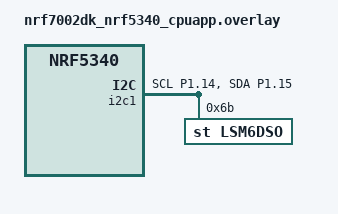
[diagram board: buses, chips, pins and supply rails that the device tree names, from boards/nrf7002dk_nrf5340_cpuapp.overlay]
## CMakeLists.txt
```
cmake_minimum_required(VERSION 3.20.0)
find_package(Zephyr REQUIRED HINTS $ENV{ZEPHYR_BASE})

project(Motion_sensor)

target_sources(app PRIVATE
    src/madgwick.c
    src/imu.c
    src/madgwick_motion.c
)

target_include_directories(app PRIVATE
    ${CMAKE_CURRENT_SOURCE_DIR}/src
)
```

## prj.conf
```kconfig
CONFIG_I2C=y
CONFIG_SENSOR=y
CONFIG_LSM6DSO=y
CONFIG_LOG=y
CONFIG_LOG_DEFAULT_LEVEL=3

# Enable float printing
CONFIG_NEWLIB_LIBC=y
CONFIG_CBPRINTF_FP_SUPPORT=y


CONFIG_FPU=y
CONFIG_MAIN_STACK_SIZE=4096
CONFIG_NEWLIB_LIBC=y
```

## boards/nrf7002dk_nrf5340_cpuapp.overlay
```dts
&i2c1 {
    status = "okay";
    pinctrl-0 = <&i2c1_default>;
    pinctrl-1 = <&i2c1_sleep>;
    pinctrl-names = "default", "sleep";

    lsm6dso@6b {
        compatible = "st,lsm6dso";
        reg = <0x6b>;
        label = "LSM6DSO";
        status = "okay";

        /* 加速度计：±2g，104 Hz */
        accel-range = <0>;
        accel-odr   = <4>;

        /* 陀螺仪：±125 dps，104 Hz */
        gyro-range = <1>;
        gyro-odr   = <4>;
    };  
};     


&pinctrl {
    /omit-if-no-ref/ i2c1_default: i2c1_default {
        group1  {
            psels = <NRF_PSEL(TWIM_SCL, 1, 14)>,
                    <NRF_PSEL(TWIM_SDA, 1, 15)>;
        };
    };

    /omit-if-no-ref/ i2c1_sleep: i2c1_sleep {
        group1  {
            psels = <NRF_PSEL(TWIM_SCL, 1, 14)>,
                    <NRF_PSEL(TWIM_SDA, 1, 15)>;
            low-power-enable;
        };
    };
};
```

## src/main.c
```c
/* root/src/main.c - BLE NUS → Servo bridge */

#include <zephyr/kernel.h>
#include <zephyr/logging/log.h>

#include "madgwick.h"
#include "imu.h" 


// LOG_MODULE_REGISTER(root_main, LOG_LEVEL_INF);

// /* Callback for data coming from phone over NUS */
// static void root_rx_cb(const uint8_t *data, size_t len)
// {
//     for (size_t i = 0; i < len; i++) {
//         char cmd = (char)data[i];

//         LOG_INF("RX cmd '%c' (0x%02x)",
//                 (cmd >= 32 && cmd <= 126) ? cmd : '.', (unsigned char)cmd);

//         /* Use servo subroutine API:
//          *  '1' => +90 deg
//          *  '2' => -90 deg
//          *  '0', 'c', 'C' => center (based on your servo_apply_command())
//          */
//         servo_apply_command(cmd);
//     }
// }

// int main(void)
// {
//     LOG_INF("System Start");

//     /* ===========================================
//      *          1. 初始化 IMU（含自动校准）
//      * =========================================== */
//     int err = imu_init();
//     if (err != 0) {
//         LOG_ERR("IMU init failed! err=%d", err);
//         return 0;
//     }

//     LOG_INF("IMU initialized successfully!");
//     LOG_INF("Calibration finished. Entering measurement mode...");

//     /* ===========================================
//      *          2. 主循环：每 500ms 测一次
//      * =========================================== */
//     struct imu_angles angles;
//     const float threshold_deg = 10.0f;

//     while (1) {

//     imu_update(&angles);

//     LOG_INF("ROLL=%.2f  PITCH=%.2f  YAW=%.2f",
//             angles.roll, angles.pitch, angles.yaw);

//     // angles.xxx 已经是“偏移角度”
//     if (fabsf(angles.roll)  > threshold_deg ||
//         fabsf(angles.pitch) > threshold_deg ||
//         fabsf(angles.yaw)   > threshold_deg) {

//         LOG_ERR("⚠ Bad posture detected!");
//     }

//     k_msleep(500);
// }
// }
```

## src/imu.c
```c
// #include "imu.h"
// #include <madgwick.h>
// #include <math.h>
// #include <zephyr/drivers/sensor.h>
// #include <zephyr/kernel.h>
// #include <zephyr/logging/log.h>

// LOG_MODULE_REGISTER(imu_subsys, LOG_LEVEL_INF);

// /* --------- 模块内部状态 --------- */

// static const struct device *imu_dev;
// static bool imu_ready = false;

// /* Gyro bias（rad/s），从 3 秒静止数据中估计 */
// static float gbx = 0.0f, gby = 0.0f, gbz = 0.0f;

// /* 最近一次计算好的绝对姿态角（度） */
// static struct imu_angles last_angles = {0};

// /* 上一次更新时间（ms），用于算 dt */
// static int64_t last_ts_ms = 0;

// /* 线程相关 */
// #define IMU_THREAD_STACK_SIZE  1024
// #define IMU_THREAD_PRIORITY    6

// K_THREAD_STACK_DEFINE(imu_thread_stack, IMU_THREAD_STACK_SIZE);
// static struct k_thread imu_thread_data;

// /* ===========================================================
//  *          IMU 线程：10ms 周期跑 Madgwick（绝对角）
//  * ===========================================================*/
// static void imu_thread_fn(void *p1, void *p2, void *p3)
// {
//     ARG_UNUSED(p1);
//     ARG_UNUSED(p2);
//     ARG_UNUSED(p3);

//     struct sensor_value accel[3];
//     struct sensor_value gyro[3];

//     while (1) {

//         if (!imu_ready) {
//             k_sleep(K_MSEC(10));
//             continue;
//         }

//         int64_t now_ms = k_uptime_get();
//         float dt = (now_ms - last_ts_ms) / 1000.0f;
//         last_ts_ms = now_ms;

//         /* 防止偶尔 dt 太大/太小 */
//         if (dt <= 0.0f || dt > 0.1f) {
//             dt = 0.01f;
//         }

//         if (sensor_sample_fetch(imu_dev) < 0) {
//             LOG_WRN("sensor_sample_fetch failed in imu_thread");
//             k_sleep(K_MSEC(10));
//             continue;
//         }

//         if (sensor_channel_get(imu_dev, SENSOR_CHAN_ACCEL_XYZ, accel) < 0) {
//             LOG_WRN("get accel failed in imu_thread");
//             k_sleep(K_MSEC(10));
//             continue;
//         }

//         if (sensor_channel_get(imu_dev, SENSOR_CHAN_GYRO_XYZ, gyro) < 0) {
//             LOG_WRN("get gyro failed in imu_thread");
//             k_sleep(K_MSEC(10));
//             continue;
//         }

//         float ax = sensor_value_to_double(&accel[0]);
//         float ay = sensor_value_to_double(&accel[1]);
//         float az = sensor_value_to_double(&accel[2]);

//         /* 注意：Zephyr LSM6DSO 的 gyro 输出是 rad/s */
//         float gx = sensor_value_to_double(&gyro[0]) - gbx;
//         float gy = sensor_value_to_double(&gyro[1]) - gby;
//         float gz = sensor_value_to_double(&gyro[2]) - gbz;

//         float roll, pitch, yaw;

//         MadgwickUpdate(gx, gy, gz, ax, ay, az, dt);
//         MadgwickGetEuler(&roll, &pitch, &yaw);   // 这里返回的是角度（度）

//         /* 直接保存“绝对姿态” */
//         last_angles.roll  = roll;
//         last_angles.pitch = pitch;
//         last_angles.yaw   = yaw;

//         /* 10 ms 周期 */
//         k_sleep(K_MSEC(10));
//     }
// }

// /* ===========================================================
//  *                      对外 API
//  * ===========================================================*/

// /*
//  * imu_init()
//  * 1) 找设备
//  * 2) 初始化 Madgwick
//  * 3) 3 秒 gyro 零偏校准（板子静止）
//  * 4) 10 秒 Madgwick 预热（板子保持参考姿势）
//  * 5) 启动 IMU 线程（10ms 周期更新绝对角度）
//  */
// int imu_init(void)
// {
//     imu_dev = DEVICE_DT_GET_ANY(st_lsm6dso);
//     if (!imu_dev || !device_is_ready(imu_dev)) {
//         LOG_ERR("IMU (LSM6DSO) not ready");
//         imu_ready = false;
//         return -ENODEV;
//     }

//     /* 1) 初始化 Madgwick 滤波器 */
//     MadgwickInit(0.1f);   // 保持你之前的参数

//     /* 2) 3 秒陀螺仪零偏标定（板子静止） */
//     LOG_INF("Calibrating gyro bias, keep IMU still (about 3s)...");

//     struct sensor_value gyro[3];
//     const int calib_samples = 300;    // 300 * 10ms ≈ 3s
//     gbx = gby = gbz = 0.0f;

//     for (int i = 0; i < calib_samples; i++) {
//         if (sensor_sample_fetch(imu_dev) < 0) {
//             k_sleep(K_MSEC(10));
//             continue;
//         }
//         if (sensor_channel_get(imu_dev, SENSOR_CHAN_GYRO_XYZ, gyro) < 0) {
//             k_sleep(K_MSEC(10));
//             continue;
//         }

//         gbx += sensor_value_to_double(&gyro[0]);
//         gby += sensor_value_to_double(&gyro[1]);
//         gbz += sensor_value_to_double(&gyro[2]);

//         k_sleep(K_MSEC(10));
//     }

//     gbx /= calib_samples;
//     gby /= calib_samples;
//     gbz /= calib_samples;

//     LOG_INF("Gyro bias: bx=%.6f  by=%.6f  bz=%.6f", gbx, gby, gbz);

//     /* 3) 10 秒 Madgwick 预热：让滤波器收敛到当前姿势 */
//     LOG_INF("Warming up Madgwick for ~10s, keep IMU in desired reference posture...");

//     struct sensor_value accel[3];
//     float roll = 0.0f, pitch = 0.0f, yaw = 0.0f;

//     const int warmup_samples = 1000;   // 1000 * 10ms ≈ 10s

//     last_ts_ms = k_uptime_get();

//     for (int i = 0; i < warmup_samples; i++) {

//         int64_t now_ms = k_uptime_get();
//         float dt = (now_ms - last_ts_ms) / 1000.0f;
//         last_ts_ms = now_ms;
//         if (dt <= 0.0f || dt > 0.1f) {
//             dt = 0.01f;
//         }

//         if (sensor_sample_fetch(imu_dev) < 0) {
//             k_sleep(K_MSEC(10));
//             continue;
//         }

//         if (sensor_channel_get(imu_dev, SENSOR_CHAN_ACCEL_XYZ, accel) < 0 ||
//             sensor_channel_get(imu_dev, SENSOR_CHAN_GYRO_XYZ,  gyro)  < 0) {
//             k_sleep(K_MSEC(10));
//             continue;
//         }

//         float ax = sensor_value_to_double(&accel[0]);
//         float ay = sensor_value_to_double(&accel[1]);
//         float az = sensor_value_to_double(&accel[2]);

//         float gx = sensor_value_to_double(&gyro[0]) - gbx;
//         float gy = sensor_value_to_double(&gyro[1]) - gby;
//         float gz = sensor_value_to_double(&gyro[2]) - gbz;

//         MadgwickUpdate(gx, gy, gz, ax, ay, az, dt);
//         MadgwickGetEuler(&roll, &pitch, &yaw);

//         k_sleep(K_MSEC(10));
//     }

//     LOG_INF("Warmup done, last pose (absolute): R=%.2f  P=%.2f  Y=%.2f",
//             roll, pitch, yaw);

//     /* 把当前绝对姿态作为初始输出（main 第一次 imu_update 基本能读到类似的值） */
//     last_angles.roll  = roll;
//     last_angles.pitch = pitch;
//     last_angles.yaw   = yaw;

//     /* 4) 启动 IMU 线程，后面 Madgwick 就在这个线程里以 10ms 周期跑 */
//     imu_ready   = true;
//     last_ts_ms  = k_uptime_get();

//     k_thread_create(&imu_thread_data,
//                     imu_thread_stack,
//                     K_THREAD_STACK_SIZEOF(imu_thread_stack),
//                     imu_thread_fn,
//                     NULL, NULL, NULL,
//                     IMU_THREAD_PRIORITY,
//                     0,
//                     K_NO_WAIT);

//     LOG_INF("IMU thread started");

//     return 0;
// }

// /* 每次被 main 调用，只是把线程算好的 **绝对角度** 拷贝出去 */
// int imu_update(struct imu_angles *angles)
// {
//     if (!imu_ready) {
//         return -EAGAIN;
//     }

//     if (angles) {
//         *angles = last_angles;   // 绝对 roll/pitch/yaw
//     }

//     return 0;
// }



/* imu.c - 双 IMU + 双 Madgwick 版本 */

#include "imu.h"
#include <madgwick.h>          /* 主 IMU 的 Madgwick */
#include <madgwick_motion.h>   /* 第二个 IMU 的 Madgwick（你复制改名的那份） */

#include <math.h>
#include <zephyr/device.h>
#include <zephyr/devicetree.h>
#include <zephyr/drivers/sensor.h>
#include <zephyr/kernel.h>
#include <zephyr/logging/log.h>

LOG_MODULE_REGISTER(imu_subsys, LOG_LEVEL_INF);

#define IMU_MAIN_NODE   DT_NODELABEL(lsm6dso0)
#define IMU_MOTION_NODE DT_NODELABEL(lsm6dso1)

/* --------- 模块内部状态 --------- */

/* 两个 IMU 的 device 指针 */
static const struct device *imu_main_dev   = DEVICE_DT_GET(IMU_MAIN_NODE);
static const struct device *imu_motion_dev = DEVICE_DT_GET(IMU_MOTION_NODE);

/* 就绪标志 */
static bool imu_main_ready   = false;
static bool imu_motion_ready = false;

/* 每个 IMU 一套 gyro bias（rad/s） */
static float gbx_main = 0.0f, gby_main = 0.0f, gbz_main = 0.0f;
static float gbx_motion = 0.0f, gby_motion = 0.0f, gbz_motion = 0.0f;

/* 最近一次计算好的绝对姿态角（度） */
static struct imu_angles last_main_angles   = {0};
static struct imu_angles last_motion_angles = {0};

/* 上一次更新时间（ms），用于算 dt（分别给两个 IMU 用） */
static int64_t last_main_ts_ms   = 0;
static int64_t last_motion_ts_ms = 0;

/* 线程相关：一个线程里轮流更新两个 IMU */
#define IMU_THREAD_STACK_SIZE  1024
#define IMU_THREAD_PRIORITY    6

K_THREAD_STACK_DEFINE(imu_thread_stack, IMU_THREAD_STACK_SIZE);
static struct k_thread imu_thread_data;

/* ===========================================================
 *          IMU 线程：10ms 周期轮询两个 IMU（绝对角）
 * ===========================================================*/
static void imu_thread_fn(void *p1, void *p2, void *p3)
{
    ARG_UNUSED(p1);
    ARG_UNUSED(p2);
    ARG_UNUSED(p3);

    struct sensor_value accel[3];
    struct sensor_value gyro[3];

    while (1) {

        /* ---------- 主 IMU 更新 ---------- */
        if (imu_main_ready) {

            int64_t now_ms = k_uptime_get();
            float dt = (now_ms - last_main_ts_ms) / 1000.0f;
            last_main_ts_ms = now_ms;

            if (dt <= 0.0f || dt > 0.1f) {
                dt = 0.01f;
            }

            if (sensor_sample_fetch(imu_main_dev) < 0) {
                LOG_WRN("sensor_sample_fetch MAIN failed");
            } else if (sensor_channel_get(imu_main_dev, SENSOR_CHAN_ACCEL_XYZ, accel) < 0) {
                LOG_WRN("get accel MAIN failed");
            } else if (sensor_channel_get(imu_main_dev, SENSOR_CHAN_GYRO_XYZ, gyro) < 0) {
                LOG_WRN("get gyro MAIN failed");
            } else {
                float ax = sensor_value_to_double(&accel[0]);
                float ay = sensor_value_to_double(&accel[1]);
                float az = sensor_value_to_double(&accel[2]);

                float gx = sensor_value_to_double(&gyro[0]) - gbx_main;
                float gy = sensor_value_to_double(&gyro[1]) - gby_main;
                float gz = sensor_value_to_double(&gyro[2]) - gbz_main;

                float roll, pitch, yaw;
                MadgwickUpdate(gx, gy, gz, ax, ay, az, dt);
                MadgwickGetEuler(&roll, &pitch, &yaw);

                last_main_angles.roll  = roll;
                last_main_angles.pitch = pitch;
                last_main_angles.yaw   = yaw;
            }
        }

        /* ---------- 第二个 IMU（motion）更新 ---------- */
        if (imu_motion_ready) {

            int64_t now_ms = k_uptime_get();
            float dt = (now_ms - last_motion_ts_ms) / 1000.0f;
            last_motion_ts_ms = now_ms;

            if (dt <= 0.0f || dt > 0.1f) {
                dt = 0.01f;
            }

            if (sensor_sample_fetch(imu_motion_dev) < 0) {
                LOG_WRN("sensor_sample_fetch MOTION failed");
            } else if (sensor_channel_get(imu_motion_dev, SENSOR_CHAN_ACCEL_XYZ, accel) < 0) {
                LOG_WRN("get accel MOTION failed");
            } else if (sensor_channel_get(imu_motion_dev, SENSOR_CHAN_GYRO_XYZ, gyro) < 0) {
                LOG_WRN("get gyro MOTION failed");
            } else {
                float ax = sensor_value_to_double(&accel[0]);
                float ay = sensor_value_to_double(&accel[1]);
                float az = sensor_value_to_double(&accel[2]);

                float gx = sensor_value_to_double(&gyro[0]) - gbx_motion;
                float gy = sensor_value_to_double(&gyro[1]) - gby_motion;
                float gz = sensor_value_to_double(&gyro[2]) - gbz_motion;

                float roll, pitch, yaw;
                MadgwickMotionUpdate(gx, gy, gz, ax, ay, az, dt);
                MadgwickMotionGetEuler(&roll, &pitch, &yaw);

                last_motion_angles.roll  = roll;
                last_motion_angles.pitch = pitch;
                last_motion_angles.yaw   = yaw;
            }
        }

        /* 10 ms 周期 */
        k_sleep(K_MSEC(10));
    }
}

/* ===========================================================
 *                 内部帮助函数：标定一个 IMU
 * ===========================================================*/

/* 对某个 IMU 做 3 秒 gyro 零偏标定，返回 bias */
static int calibrate_gyro_bias(const struct device *dev,
                               float *bx, float *by, float *bz)
{
    struct sensor_value gyro[3];
    const int calib_samples = 300;    /* 300 * 10ms ≈ 3s */

    *bx = *by = *bz = 0.0f;

    for (int i = 0; i < calib_samples; i++) {
        if (sensor_sample_fetch(dev) < 0) {
            k_sleep(K_MSEC(10));
            continue;
        }
        if (sensor_channel_get(dev, SENSOR_CHAN_GYRO_XYZ, gyro) < 0) {
            k_sleep(K_MSEC(10));
            continue;
        }

        *bx += sensor_value_to_double(&gyro[0]);
        *by += sensor_value_to_double(&gyro[1]);
        *bz += sensor_value_to_double(&gyro[2]);

        k_sleep(K_MSEC(10));
    }

    *bx /= calib_samples;
    *by /= calib_samples;
    *bz /= calib_samples;

    return 0;
}

/* 对某个 IMU 做约 10 秒 Madgwick 预热，让滤波稳定 */
static int warmup_madgwick_main(const struct device *dev)
{
    struct sensor_value accel[3];
    struct sensor_value gyro[3];

    float roll = 0.0f, pitch = 0.0f, yaw = 0.0f;
    const int warmup_samples = 1000;   /* 1000 * 10ms ≈ 10s */

    last_main_ts_ms = k_uptime_get();

    for (int i = 0; i < warmup_samples; i++) {

        int64_t now_ms = k_uptime_get();
        float dt = (now_ms - last_main_ts_ms) / 1000.0f;
        last_main_ts_ms = now_ms;
        if (dt <= 0.0f || dt > 0.1f) {
            dt = 0.01f;
        }

        if (sensor_sample_fetch(dev) < 0) {
            k_sleep(K_MSEC(10));
            continue;
        }

        if (sensor_channel_get(dev, SENSOR_CHAN_ACCEL_XYZ, accel) < 0 ||
            sensor_channel_get(dev, SENSOR_CHAN_GYRO_XYZ,  gyro)  < 0) {
            k_sleep(K_MSEC(10));
            continue;
        }

        float ax = sensor_value_to_double(&accel[0]);
        float ay = sensor_value_to_double(&accel[1]);
        float az = sensor_value_to_double(&accel[2]);

        float gx = sensor_value_to_double(&gyro[0]) - gbx_main;
        float gy = sensor_value_to_double(&gyro[1]) - gby_main;
        float gz = sensor_value_to_double(&gyro[2]) - gbz_main;

        MadgwickUpdate(gx, gy, gz, ax, ay, az, dt);
        MadgwickGetEuler(&roll, &pitch, &yaw);

        k_sleep(K_MSEC(10));
    }

    last_main_angles.roll  = roll;
    last_main_angles.pitch = pitch;
    last_main_angles.yaw   = yaw;

    LOG_INF("MAIN warmup done: R=%.2f P=%.2f Y=%.2f",
            roll, pitch, yaw);

    return 0;
}

static int warmup_madgwick_motion(const struct device *dev)
{
    struct sensor_value accel[3];
    struct sensor_value gyro[3];

    float roll = 0.0f, pitch = 0.0f, yaw = 0.0f;
    const int warmup_samples = 1000;   /* 1000 * 10ms ≈ 10s */

    last_motion_ts_ms = k_uptime_get();

    for (int i = 0; i < warmup_samples; i++) {

        int64_t now_ms = k_uptime_get();
        float dt = (now_ms - last_motion_ts_ms) / 1000.0f;
        last_motion_ts_ms = now_ms;
        if (dt <= 0.0f || dt > 0.1f) {
            dt = 0.01f;
        }

        if (sensor_sample_fetch(dev) < 0) {
            k_sleep(K_MSEC(10));
            continue;
        }

        if (sensor_channel_get(dev, SENSOR_CHAN_ACCEL_XYZ, accel) < 0 ||
            sensor_channel_get(dev, SENSOR_CHAN_GYRO_XYZ,  gyro)  < 0) {
            k_sleep(K_MSEC(10));
            continue;
        }

        float ax = sensor_value_to_double(&accel[0]);
        float ay = sensor_value_to_double(&accel[1]);
        float az = sensor_value_to_double(&accel[2]);

        float gx = sensor_value_to_double(&gyro[0]) - gbx_motion;
        float gy = sensor_value_to_double(&gyro[1]) - gby_motion;
        float gz = sensor_value_to_double(&gyro[2]) - gbz_motion;

        MadgwickMotionUpdate(gx, gy, gz, ax, ay, az, dt);
        MadgwickMotionGetEuler(&roll, &pitch, &yaw);

        k_sleep(K_MSEC(10));
    }

    last_motion_angles.roll  = roll;
    last_motion_angles.pitch = pitch;
    last_motion_angles.yaw   = yaw;

    LOG_INF("MOTION warmup done: R=%.2f P=%.2f Y=%.2f",
            roll, pitch, yaw);

    return 0;
}

/* ===========================================================
 *                      对外 API
 * ===========================================================*/

/*
 * imu_init()
 * 1) 检查两个 IMU 是否 ready
 * 2) 初始化两套 Madgwick
 * 3) 各做 3 秒 gyro 零偏标定
 * 4) 各做 10 秒 Madgwick 预热
 * 5) 启动线程，10ms 周期更新两路绝对姿态角
 */
int imu_init(void)
{
    if (!device_is_ready(imu_main_dev)) {
        LOG_ERR("MAIN IMU (lsm6dso0) not ready");
        return -ENODEV;
    }
    if (!device_is_ready(imu_motion_dev)) {
        LOG_ERR("MOTION IMU (lsm6dso1) not ready");
        return -ENODEV;
    }

    /* 1) 初始化两个滤波器 */
    MadgwickInit(0.1f);
    MadgwickMotionInit(0.1f);

    /* 2) gyro 零偏标定 */
    LOG_INF("Calibrating MAIN gyro bias ~3s, keep still...");
    calibrate_gyro_bias(imu_main_dev, &gbx_main, &gby_main, &gbz_main);
    // LOG_INF("MAIN gyro bias: bx=%.6f by=%.6f bz=%.6f",
    //         gbx_main, gby_main, gbz_main);

    LOG_INF("Calibrating MOTION gyro bias ~3s, keep still...");
    calibrate_gyro_bias(imu_motion_dev, &gbx_motion, &gby_motion, &gbz_motion);
    // LOG_INF("MOTION gyro bias: bx=%.6f by=%.6f bz=%.6f",
    //         gbx_motion, gby_motion, gbz_motion);

    /* 3) 预热 Madgwick（板子摆在你希望的参考姿势） */
    LOG_INF("Warming up MAIN Madgwick ~10s...");
    warmup_madgwick_main(imu_main_dev);

    LOG_INF("Warming up MOTION Madgwick ~10s...");
    warmup_madgwick_motion(imu_motion_dev);

    /* 4) 标记 ready，启动线程 */
    imu_main_ready   = true;
    imu_motion_ready = true;

    k_thread_create(&imu_thread_data,
                    imu_thread_stack,
                    K_THREAD_STACK_SIZEOF(imu_thread_stack),
                    imu_thread_fn,
                    NULL, NULL, NULL,
                    IMU_THREAD_PRIORITY,
                    0,
                    K_NO_WAIT);

    LOG_INF("IMU thread started (MAIN + MOTION)");

    return 0;
}

/* main IMU：返回最近一次绝对姿态角 */
int imu_update_main(struct imu_angles *angles)
{
    if (!imu_main_ready) {
        return -EAGAIN;
    }
    if (angles) {
        *angles = last_main_angles;
    }
    return 0;
}

/* motion IMU：返回最近一次绝对姿态角 */
int imu_update_motion(struct imu_angles *angles)
{
    if (!imu_motion_ready) {
        return -EAGAIN;
    }
    if (angles) {
        *angles = last_motion_angles;
    }
    return 0;
}
```

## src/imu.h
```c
// // imu.h
// #ifndef IMU_H_
// #define IMU_H_

// #include <zephyr/drivers/sensor.h>

// struct imu_angles {
//   float roll;
//   float pitch;
//   float yaw;
// };

// int imu_init(void);
// int imu_update(struct imu_angles *angles);
// void imu_reset_reference(void);


// #endif


/* imu.h - 双 IMU 接口 */

#ifndef IMU_H_
#define IMU_H_

#ifdef __cplusplus
extern "C" {
#endif

struct imu_angles {
    float roll;
    float pitch;
    float yaw;
};

/* 初始化两个 IMU（主 + motion），以及两套 Madgwick */
int imu_init(void);

/* 读取主 IMU（挂在 I2C1 上的那个）的姿态角（绝对角度） */
int imu_update_main(struct imu_angles *angles);

/* 读取第二个 IMU（motion，用 I2C2）的姿态角（绝对角度） */
int imu_update_motion(struct imu_angles *angles);

/* 兼容旧代码：imu_update() 等价于 imu_update_main() */
static inline int imu_update(struct imu_angles *angles)
{
    return imu_update_main(angles);
}

#ifdef __cplusplus
}
#endif

#endif /* IMU_H_ */
```

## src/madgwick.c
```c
// madgwick.c
#include <math.h>
#include "madgwick.h"

#ifndef M_PI
#define M_PI 3.14159265358979323846f
#endif

/* ----------------- 内部状态 ----------------- */
static float beta = 0.1f;          /* 算法增益 */
static float q0 = 1.0f, q1 = 0.0f;
static float q2 = 0.0f, q3 = 0.0f;

/* 简单的 1/sqrt(x) 封装 */
static inline float invSqrt(float x)
{
    return 1.0f / sqrtf(x);
}

/* 初始化：设置 beta，并重置四元数 */
void MadgwickInit(float gain)
{
    beta = gain;
    q0 = 1.0f;
    q1 = 0.0f;
    q2 = 0.0f;
    q3 = 0.0f;
}

/* gx, gy, gz:   rad/s（Zephyr LSM6DSO 驱动就是 rad/s）
 * ax, ay, az:   m/s^2（或者任意比例一致的重力单位）
 * dt:           本次更新时间间隔（秒）
 */
void MadgwickUpdate(float gx, float gy, float gz,
                    float ax, float ay, float az,
                    float dt)
{
    float recipNorm;
    float s0, s1, s2, s3;
    float qDot1, qDot2, qDot3, qDot4;
    float _2q0, _2q1, _2q2, _2q3;
    float _4q0, _4q1, _4q2;
    float _8q1, _8q2;
    float q0q0, q1q1, q2q2, q3q3;

    if (dt <= 0.0f) {
        return;
    }

    /* ---------- 1. 由陀螺仪得到四元数变化率 ---------- */
    qDot1 = 0.5f * (-q1 * gx - q2 * gy - q3 * gz);
    qDot2 = 0.5f * ( q0 * gx + q2 * gz - q3 * gy);
    qDot3 = 0.5f * ( q0 * gy - q1 * gz + q3 * gx);
    qDot4 = 0.5f * ( q0 * gz + q1 * gy - q2 * gx);

    /* ---------- 2. 如果有加速度数据，用来校正重力方向 ---------- */
    if (!((ax == 0.0f) && (ay == 0.0f) && (az == 0.0f))) {

        /* 2.1 归一化加速度 */
        recipNorm = invSqrt(ax * ax + ay * ay + az * az);
        ax *= recipNorm;
        ay *= recipNorm;
        az *= recipNorm;

        /* 2.2 一堆辅助变量（完全照 Madgwick 原始实现） */
        _2q0 = 2.0f * q0;
        _2q1 = 2.0f * q1;
        _2q2 = 2.0f * q2;
        _2q3 = 2.0f * q3;
        _4q0 = 4.0f * q0;
        _4q1 = 4.0f * q1;
        _4q2 = 4.0f * q2;
        _8q1 = 8.0f * q1;
        _8q2 = 8.0f * q2;
        q0q0 = q0 * q0;
        q1q1 = q1 * q1;
        q2q2 = q2 * q2;
        q3q3 = q3 * q3;

        /* 2.3 梯度下降算法的校正项（原公式） */
        s0 = _4q0 * q2q2 + _2q2 * ax + _4q0 * q1q1 - _2q1 * ay;
        s1 = _4q1 * q3q3 - _2q3 * ax + 4.0f * q0q0 * q1
           - _2q0 * ay - _4q1 + _8q1 * q1q1 + _8q1 * q2q2 + _4q1 * az;
        s2 = 4.0f * q0q0 * q2 + _2q0 * ax + _4q2 * q3q3
           - _2q3 * ay - _4q2 + _8q2 * q1q1 + _8q2 * q2q2 + _4q2 * az;
        s3 = 4.0f * q1q1 * q3 - _2q1 * ax + 4.0f * q2q2 * q3 - _2q2 * ay;

        /* 2.4 归一化步长 */
        recipNorm = invSqrt(s0 * s0 + s1 * s1 + s2 * s2 + s3 * s3);
        s0 *= recipNorm;
        s1 *= recipNorm;
        s2 *= recipNorm;
        s3 *= recipNorm;

        /* 2.5 把校正项叠加到四元数变化率中 */
        qDot1 -= beta * s0;
        qDot2 -= beta * s1;
        qDot3 -= beta * s2;
        qDot4 -= beta * s3;
    }

    /* ---------- 3. 用真实 dt 积分四元数 ---------- */
    q0 += qDot1 * dt;
    q1 += qDot2 * dt;
    q2 += qDot3 * dt;
    q3 += qDot4 * dt;

    /* ---------- 4. 再归一化一次四元数 ---------- */
    recipNorm = invSqrt(q0 * q0 + q1 * q1 + q2 * q2 + q3 * q3);
    q0 *= recipNorm;
    q1 *= recipNorm;
    q2 *= recipNorm;
    q3 *= recipNorm;
}

/* 输出欧拉角（单位：度） */
void MadgwickGetEuler(float *roll, float *pitch, float *yaw)
{
    if (roll) {
        *roll = atan2f(2.0f * (q0*q1 + q2*q3),
                       1.0f - 2.0f * (q1*q1 + q2*q2)) * 180.0f / M_PI;
    }

    if (pitch) {
        float sp = 2.0f * (q0*q2 - q3*q1);
        if (sp > 1.0f)  sp = 1.0f;
        if (sp < -1.0f) sp = -1.0f;
        *pitch = asinf(sp) * 180.0f / M_PI;
    }

    if (yaw) {
        *yaw = atan2f(2.0f * (q0*q3 + q1*q2),
                      1.0f - 2.0f * (q2*q2 + q3*q3)) * 180.0f / M_PI;
    }
}
```

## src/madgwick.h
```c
#ifndef MADGWICK_H
#define MADGWICK_H

void MadgwickInit(float gain);
void MadgwickUpdate(float gx, float gy, float gz,
                    float ax, float ay, float az,
                float dt);
void MadgwickGetEuler(float *roll, float *pitch, float *yaw);

#endif
```

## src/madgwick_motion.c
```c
// madgwick_motion.c
#include <math.h>
#include "madgwick_motion.h"

#ifndef M_PI
#define M_PI 3.14159265358979323846f
#endif

/* ----------------- 内部状态（第二个 IMU 用） ----------------- */
static float beta_m = 0.1f;          /* 算法增益 */
static float q0m = 1.0f, q1m = 0.0f;
static float q2m = 0.0f, q3m = 0.0f;

/* 简单的 1/sqrt(x) 封装 */
static inline float invSqrt_m(float x)
{
    return 1.0f / sqrtf(x);
}

/* 初始化：设置 beta，并重置四元数 */
void MadgwickMotionInit(float gain)
{
    beta_m = gain;
    q0m = 1.0f;
    q1m = 0.0f;
    q2m = 0.0f;
    q3m = 0.0f;
}

/* gx, gy, gz:   rad/s（Zephyr LSM6DSO 驱动就是 rad/s）
 * ax, ay, az:   m/s^2（或者任意比例一致的重力单位）
 * dt:           本次更新时间间隔（秒）
 */
void MadgwickMotionUpdate(float gx, float gy, float gz,
                          float ax, float ay, float az,
                          float dt)
{
    float recipNorm;
    float s0, s1, s2, s3;
    float qDot1, qDot2, qDot3, qDot4;
    float _2q0, _2q1, _2q2, _2q3;
    float _4q0, _4q1, _4q2;
    float _8q1, _8q2;
    float q0q0, q1q1, q2q2, q3q3;

    if (dt <= 0.0f) {
        return;
    }

    /* ---------- 1. 由陀螺仪得到四元数变化率 ---------- */
    qDot1 = 0.5f * (-q1m * gx - q2m * gy - q3m * gz);
    qDot2 = 0.5f * ( q0m * gx + q2m * gz - q3m * gy);
    qDot3 = 0.5f * ( q0m * gy - q1m * gz + q3m * gx);
    qDot4 = 0.5f * ( q0m * gz + q1m * gy - q2m * gx);

    /* ---------- 2. 如果有加速度数据，用来校正重力方向 ---------- */
    if (!((ax == 0.0f) && (ay == 0.0f) && (az == 0.0f))) {

        /* 2.1 归一化加速度 */
        recipNorm = invSqrt_m(ax * ax + ay * ay + az * az);
        ax *= recipNorm;
        ay *= recipNorm;
        az *= recipNorm;

        /* 2.2 一堆辅助变量（完全照 Madgwick 原始实现，只是用了 q0m..q3m） */
        _2q0 = 2.0f * q0m;
        _2q1 = 2.0f * q1m;
        _2q2 = 2.0f * q2m;
        _2q3 = 2.0f * q3m;
        _4q0 = 4.0f * q0m;
        _4q1 = 4.0f * q1m;
        _4q2 = 4.0f * q2m;
        _8q1 = 8.0f * q1m;
        _8q2 = 8.0f * q2m;
        q0q0 = q0m * q0m;
        q1q1 = q1m * q1m;
        q2q2 = q2m * q2m;
        q3q3 = q3m * q3m;

        /* 2.3 梯度下降算法的校正项（原公式） */
        s0 = _4q0 * q2q2 + _2q2 * ax + _4q0 * q1q1 - _2q1 * ay;
        s1 = _4q1 * q3q3 - _2q3 * ax + 4.0f * q0q0 * q1m
           - _2q0 * ay - _4q1 + _8q1 * q1q1 + _8q1 * q2q2 + _4q1 * az;
        s2 = 4.0f * q0q0 * q2m + _2q0 * ax + _4q2 * q3q3
           - _2q3 * ay - _4q2 + _8q2 * q1q1 + _8q2 * q2q2 + _4q2 * az;
        s3 = 4.0f * q1q1 * q3m - _2q1 * ax + 4.0f * q2q2 * q3m - _2q2 * ay;

        /* 2.4 归一化步长 */
        recipNorm = invSqrt_m(s0 * s0 + s1 * s1 + s2 * s2 + s3 * s3);
        s0 *= recipNorm;
        s1 *= recipNorm;
        s2 *= recipNorm;
        s3 *= recipNorm;

        /* 2.5 把校正项叠加到四元数变化率中 */
        qDot1 -= beta_m * s0;
        qDot2 -= beta_m * s1;
        qDot3 -= beta_m * s2;
        qDot4 -= beta_m * s3;
    }

    /* ---------- 3. 用真实 dt 积分四元数 ---------- */
    q0m += qDot1 * dt;
    q1m += qDot2 * dt;
    q2m += qDot3 * dt;
    q3m += qDot4 * dt;

    /* ---------- 4. 再归一化一次四元数 ---------- */
    recipNorm = invSqrt_m(q0m * q0m + q1m * q1m + q2m * q2m + q3m * q3m);
    q0m *= recipNorm;
    q1m *= recipNorm;
    q2m *= recipNorm;
    q3m *= recipNorm;
}

/* 输出欧拉角（单位：度） */
void MadgwickMotionGetEuler(float *roll, float *pitch, float *yaw)
{
    if (roll) {
        *roll = atan2f(2.0f * (q0m*q1m + q2m*q3m),
                       1.0f - 2.0f * (q1m*q1m + q2m*q2m)) * 180.0f / M_PI;
    }

    if (pitch) {
        float sp = 2.0f * (q0m*q2m - q3m*q1m);
        if (sp > 1.0f)  sp = 1.0f;
        if (sp < -1.0f) sp = -1.0f;
        *pitch = asinf(sp) * 180.0f / M_PI;
    }

    if (yaw) {
        *yaw = atan2f(2.0f * (q0m*q3m + q1m*q2m),
                      1.0f - 2.0f * (q2m*q2m + q3m*q3m)) * 180.0f / M_PI;
    }
}
```

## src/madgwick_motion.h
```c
#ifndef MADGWICK_MOTION_H_
#define MADGWICK_MOTION_H_

#ifdef __cplusplus
extern "C" {
#endif

/* 初始化第二套 Madgwick 滤波器（给第二个 IMU 用） */
void MadgwickMotionInit(float gain);

/* 
 * gx, gy, gz:   rad/s（Zephyr LSM6DSO 驱动就是 rad/s）
 * ax, ay, az:   m/s^2（或者任意比例一致的重力单位）
 * dt:           本次更新时间间隔（秒）
 */
void MadgwickMotionUpdate(float gx, float gy, float gz,
                          float ax, float ay, float az,
                          float dt);

/* 输出欧拉角（单位：度）——来自“第二套”滤波状态 */
void MadgwickMotionGetEuler(float *roll, float *pitch, float *yaw);

#ifdef __cplusplus
}
#endif

#endif /* MADGWICK_MOTION_H_ */
```
